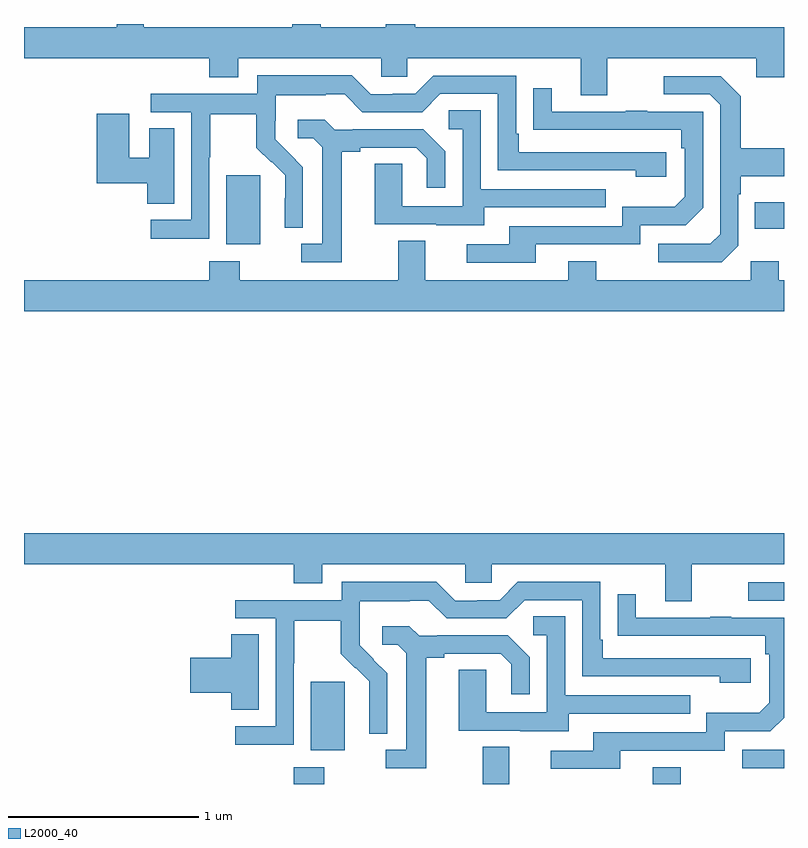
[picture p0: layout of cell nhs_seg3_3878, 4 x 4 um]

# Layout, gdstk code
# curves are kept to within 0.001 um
import gdstk
lib = gdstk.Library(unit=1e-6, precision=1e-09)
def R(c, l, rs):  # rectangles x0, y0, x1, y1
    for r in rs: c.add(gdstk.rectangle(r[:2], r[2:], *l))
def P(c, l, *ps):  # polygons
    for p in ps: c.add(gdstk.Polygon(p, *l))
L2000_40 = (2000, 40)

nhs_seg3_3878 = lib.new_cell('nhs_seg3_3878')
R(nhs_seg3_3878, L2000_40, [(312.419,726.4,312.579,726.487), (313.415,726.4,313.555,726.596), (314.309,726.4,314.457,726.487), (314.781,726.483,315,726.579), (312.509,726.578,312.688,726.939), (314.811,727.365,315,727.461), (312.065,729.242,312.244,729.603), (314.845,729.323,315,729.463)])
P(nhs_seg3_3878, L2000_40, [(311.489,730.4),(311.489,730.384),(311,730.384),(311,730.22),(311.975,730.22),(311.975,730.121),(312.127,730.121),(312.127,730.22),(312.879,730.22),(312.879,730.122),(313.017,730.122),(313.017,730.22),(313.931,730.22),(313.931,730.026),(314.071,730.026),(314.071,730.22),(314.855,730.22),(314.855,730.121),(315,730.121),(315,730.384),(313.058,730.384),(313.058,730.4),(312.905,730.4),(312.905,730.384),(312.561,730.384),(312.561,730.4),(312.413,730.4),(312.413,730.384),(311.629,730.384),(311.629,730.4)],
  [(311.976,729.7),(311.979,729.7),(311.979,729.924),(312.223,729.924),(312.223,729.749),(312.3,729.672),(312.303,729.675),(312.374,729.605),(312.374,729.482),(312.372,729.482),(312.372,729.328),(312.468,729.328),(312.468,729.646),(312.322,729.794),(312.322,729.891),(312.324,729.891),(312.324,730.025),(312.587,730.025),(312.587,730.029),(312.687,730.029),(312.78,729.936),(313.095,729.936),(313.191,730.032),(313.494,730.032),(313.494,729.63),(314.219,729.63),(314.219,729.596),(314.38,729.596),(314.38,729.726),(313.603,729.726),(313.603,729.823),(313.59,729.823),(313.59,730.128),(313.155,730.128),(313.059,730.032),(312.941,730.032),(312.941,730.029),(312.825,730.029),(312.725,730.129),(312.228,730.129),(312.228,730.032),(311.667,730.032),(311.667,729.936),(311.88,729.936),(311.88,729.369),(311.667,729.369),(311.667,729.271),(311.976,729.271)],
  [(314.76,729.234),(314.76,729.503),(314.773,729.503),(314.773,729.599),(315,729.599),(315,729.747),(314.773,729.747),(314.773,730.019),(314.667,730.125),(314.367,730.125),(314.367,730.029),(314.61,730.029),(314.664,729.975),(314.664,729.294),(314.613,729.243),(314.337,729.243),(314.337,729.147),(314.673,729.147)],
  [(313.693,729.24),(314.244,729.24),(314.244,729.342),(314.484,729.342),(314.574,729.432),(314.574,729.939),(314.279,729.939),(314.279,729.944),(314.167,729.944),(314.167,729.939),(313.777,729.939),(313.777,730.063),(313.681,730.063),(313.681,729.844),(314.458,729.843),(314.458,729.746),(314.478,729.746),(314.478,729.492),(314.425,729.439),(314.148,729.439),(314.148,729.336),(313.553,729.336),(313.553,729.24),(313.329,729.24),(313.329,729.144),(313.693,729.144)],
  [(313.423,729.435),(314.063,729.435),(314.063,729.531),(313.404,729.531),(313.404,729.947),(313.236,729.947),(313.236,729.846),(313.308,729.846),(313.308,729.441),(312.99,729.441),(312.99,729.665),(312.845,729.665),(312.845,729.345),(313.169,729.345),(313.169,729.341),(313.423,729.341)],
  [(311.791,729.851),(311.66,729.851),(311.66,729.697),(311.554,729.697),(311.554,729.928),(311.384,729.928),(311.384,729.563),(311.648,729.563),(311.648,729.454),(311.791,729.454)],
  [(312.673,729.728),(312.769,729.728),(312.769,729.75),(313.064,729.75),(313.121,729.693),(313.121,729.537),(313.218,729.537),(313.218,729.73),(313.102,729.846),(312.73,729.846),(312.73,729.843),(312.636,729.843),(312.584,729.895),(312.441,729.895),(312.441,729.798),(312.522,729.798),(312.569,729.751),(312.569,729.243),(312.459,729.243),(312.459,729.147),(312.673,729.147)],
  [(315,729.052),(314.973,729.052),(314.973,729.151),(314.826,729.151),(314.826,729.052),(314.013,729.052),(314.013,729.151),(313.865,729.151),(313.865,729.052),(313.111,729.052),(313.111,729.26),(312.971,729.26),(312.971,729.052),(312.135,729.052),(312.135,729.151),(311.975,729.151),(311.975,729.052),(311,729.052),(311,728.888),(315,728.888)],
  [(314.515,727.556),(315,727.556),(315,727.72),(311,727.72),(311,727.556),(312.419,727.556),(312.419,727.457),(312.571,727.457),(312.571,727.556),(313.323,727.556),(313.323,727.458),(313.461,727.458),(313.461,727.556),(314.375,727.556),(314.375,727.362),(314.515,727.362)],
  [(312.42,727.036),(312.423,727.036),(312.423,727.26),(312.667,727.26),(312.667,727.085),(312.744,727.008),(312.747,727.011),(312.818,726.941),(312.818,726.818),(312.816,726.818),(312.816,726.664),(312.912,726.664),(312.912,726.982),(312.766,727.13),(312.766,727.227),(312.768,727.227),(312.768,727.361),(313.031,727.361),(313.031,727.365),(313.131,727.365),(313.224,727.272),(313.539,727.272),(313.635,727.368),(313.938,727.368),(313.938,726.966),(314.663,726.966),(314.663,726.932),(314.824,726.932),(314.824,727.062),(314.047,727.062),(314.047,727.159),(314.034,727.159),(314.034,727.464),(313.599,727.464),(313.503,727.368),(313.385,727.368),(313.385,727.365),(313.269,727.365),(313.169,727.465),(312.672,727.465),(312.672,727.368),(312.111,727.368),(312.111,727.272),(312.324,727.272),(312.324,726.705),(312.111,726.705),(312.111,726.607),(312.42,726.607)],
  [(314.137,726.576),(314.688,726.576),(314.688,726.678),(314.928,726.678),(315,726.75),(315,727.275),(314.723,727.275),(314.723,727.28),(314.611,727.28),(314.611,727.275),(314.221,727.275),(314.221,727.399),(314.125,727.399),(314.125,727.18),(314.902,727.179),(314.902,727.082),(314.922,727.082),(314.922,726.828),(314.869,726.775),(314.592,726.775),(314.592,726.672),(313.997,726.672),(313.997,726.576),(313.773,726.576),(313.773,726.48),(314.137,726.48)],
  [(313.867,726.771),(314.507,726.771),(314.507,726.867),(313.848,726.867),(313.848,727.283),(313.68,727.283),(313.68,727.182),(313.752,727.182),(313.752,726.777),(313.434,726.777),(313.434,727.001),(313.289,727.001),(313.289,726.681),(313.613,726.681),(313.613,726.677),(313.867,726.677)],
  [(313.117,727.064),(313.213,727.064),(313.213,727.086),(313.508,727.086),(313.565,727.029),(313.565,726.873),(313.662,726.873),(313.662,727.066),(313.546,727.182),(313.174,727.182),(313.174,727.179),(313.08,727.179),(313.028,727.231),(312.885,727.231),(312.885,727.134),(312.966,727.134),(313.013,727.087),(313.013,726.579),(312.903,726.579),(312.903,726.483),(313.117,726.483)],
  [(312.235,727.187),(312.092,727.187),(312.092,727.064),(311.874,727.064),(311.874,726.881),(312.092,726.881),(312.092,726.79),(312.235,726.79)])

lib.write_gds('nhs_seg3_3878.gds')
